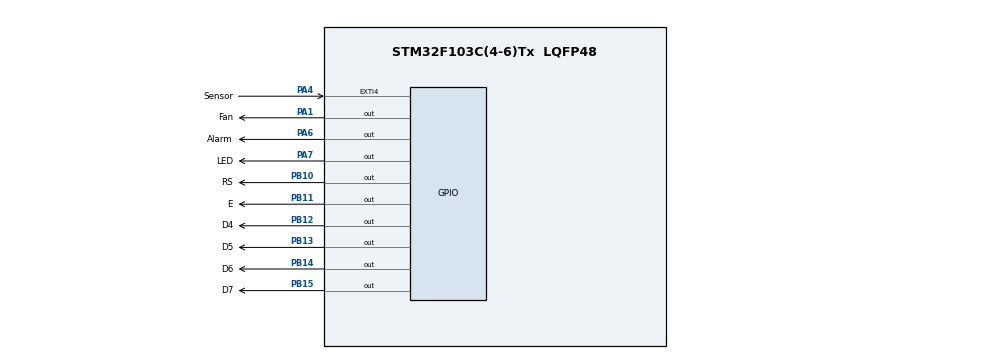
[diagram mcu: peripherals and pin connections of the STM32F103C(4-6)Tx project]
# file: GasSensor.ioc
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Mcu.Family=STM32F1
Mcu.Name=STM32F103C(4-6)Tx
Mcu.Package=LQFP48
NVIC.EXTI4_IRQn=true\:0\:0\:false\:false\:true\:true\:true\:true
NVIC.PriorityGroup=NVIC_PRIORITYGROUP_4
NVIC.TIM2_IRQn=true\:0\:0\:false\:false\:true\:true\:true\:true
PA1.GPIO_Label=Fan
PA1.Signal=GPIO_Output
PA4.GPIO_Label=Sensor
PA4.Signal=GPXTI4
PA6.GPIO_Label=Alarm
PA6.Signal=GPIO_Output
PA7.GPIO_Label=LED
PA7.Signal=GPIO_Output
PB10.GPIO_Label=RS
PB10.Signal=GPIO_Output
PB11.GPIO_Label=E
PB11.Signal=GPIO_Output
PB12.GPIO_Label=D4
PB12.Signal=GPIO_Output
PB13.GPIO_Label=D5
PB13.Signal=GPIO_Output
PB14.GPIO_Label=D6
PB14.Signal=GPIO_Output
PB15.GPIO_Label=D7
PB15.Signal=GPIO_Output
PD0-OSC_IN.Mode=HSE-External-Oscillator
PD0-OSC_IN.Signal=RCC_OSC_IN
PD1-OSC_OUT.Mode=HSE-External-Oscillator
PD1-OSC_OUT.Signal=RCC_OSC_OUT
ProjectManager.HeapSize=0x200
ProjectManager.StackSize=0x400
ProjectManager.TargetToolchain=MDK-ARM V5.32
RCC.APB1Freq_Value=8000000
RCC.APB2Freq_Value=8000000
VP_SYS_VS_ND.Mode=No_Debug
VP_TIM2_VS_ClockSourceINT.Mode=Internal
board=custom

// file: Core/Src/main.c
/* USER CODE BEGIN Header */
/**
  ******************************************************************************
  * @file           : main.c
  * @brief          : Main program body
  ******************************************************************************
  * @attention
  *
  * Copyright (c) 2023 STMicroelectronics.
  * All rights reserved.
  *
  * This software is licensed under terms that can be found in the LICENSE file
  * in the root directory of this software component.
  * If no LICENSE file comes with this software, it is provided AS-IS.
  *
  ******************************************************************************
  */
/* USER CODE END Header */
#include "main.h"

/* USER CODE BEGIN Includes */
#include "stdio.h"
#include "lcd_txt.h"
/* USER CODE END Includes */

TIM_HandleTypeDef htim2;

void SystemClock_Config(void);
static void MX_GPIO_Init(void);
static void MX_TIM2_Init(void);

int main(void)
{

  /* MCU Configuration--------------------------------------------------------*/

  /* Reset of all peripherals, Initializes the Flash interface and the Systick. */
  HAL_Init();

  /* Configure the system clock */
  SystemClock_Config();

  /* Initialize all configured peripherals */
  MX_GPIO_Init();
  MX_TIM2_Init();
  /* USER CODE BEGIN 2 */
	HAL_TIM_Base_Start_IT(&htim2);
	lcd_init();
  /* USER CODE END 2 */

  /* Infinite loop */
  /* USER CODE BEGIN WHILE */
  while (1)
  {
		if (HAL_GPIO_ReadPin(GPIOA, GPIO_PIN_4)) // if the pin is HIGH
		{
			HAL_GPIO_WritePin(GPIOA, GPIO_PIN_6, 0);
			HAL_GPIO_WritePin(GPIOA, GPIO_PIN_7, 0);
			HAL_GPIO_WritePin(GPIOA, GPIO_PIN_1, 0);
			lcd_puts(0, 0, (int8_t*)"GAS DETECTED!!!");
			lcd_puts(1, 0, (int8_t*)"FAN ACTIVATED!");
		}
		else if(!HAL_GPIO_ReadPin(GPIOA, GPIO_PIN_4)){
			HAL_GPIO_WritePin(GPIOA, GPIO_PIN_6, 1);
			HAL_GPIO_WritePin(GPIOA, GPIO_PIN_7, 1);
			HAL_GPIO_WritePin(GPIOA, GPIO_PIN_1, 1);
			lcd_puts(0, 0, (int8_t*)"NO GAS DETECTED");
			lcd_puts(1, 0, (int8_t*)"FAN NOT ACTIVE!");
		}
    /* USER CODE END WHILE */

  }
}

void SystemClock_Config(void)
{
  RCC_OscInitTypeDef RCC_OscInitStruct = {0};
  RCC_ClkInitTypeDef RCC_ClkInitStruct = {0};

  /** Initializes the RCC Oscillators according to the specified parameters
  * in the RCC_OscInitTypeDef structure.
  */
  RCC_OscInitStruct.OscillatorType = RCC_OSCILLATORTYPE_HSI;
  RCC_OscInitStruct.HSIState = RCC_HSI_ON;
  RCC_OscInitStruct.HSICalibrationValue = RCC_HSICALIBRATION_DEFAULT;
  RCC_OscInitStruct.PLL.PLLState = RCC_PLL_NONE;
  if (HAL_RCC_OscConfig(&RCC_OscInitStruct) != HAL_OK)
  {
    Error_Handler();
  }

  /** Initializes the CPU, AHB and APB buses clocks
  */
  RCC_ClkInitStruct.ClockType = RCC_CLOCKTYPE_HCLK|RCC_CLOCKTYPE_SYSCLK
                              |RCC_CLOCKTYPE_PCLK1|RCC_CLOCKTYPE_PCLK2;
  RCC_ClkInitStruct.SYSCLKSource = RCC_SYSCLKSOURCE_HSI;
  RCC_ClkInitStruct.AHBCLKDivider = RCC_SYSCLK_DIV1;
  RCC_ClkInitStruct.APB1CLKDivider = RCC_HCLK_DIV1;
  RCC_ClkInitStruct.APB2CLKDivider = RCC_HCLK_DIV1;

  if (HAL_RCC_ClockConfig(&RCC_ClkInitStruct, FLASH_LATENCY_0) != HAL_OK)
  {
    Error_Handler();
  }
}

static void MX_TIM2_Init(void)
{

  TIM_ClockConfigTypeDef sClockSourceConfig = {0};
  TIM_MasterConfigTypeDef sMasterConfig = {0};

  htim2.Instance = TIM2;
  htim2.Init.Prescaler = 0;
  htim2.Init.CounterMode = TIM_COUNTERMODE_UP;
  htim2.Init.Period = 65535;
  htim2.Init.ClockDivision = TIM_CLOCKDIVISION_DIV1;
  htim2.Init.AutoReloadPreload = TIM_AUTORELOAD_PRELOAD_DISABLE;
  if (HAL_TIM_Base_Init(&htim2) != HAL_OK)
  {
    Error_Handler();
  }
  sClockSourceConfig.ClockSource = TIM_CLOCKSOURCE_INTERNAL;
  if (HAL_TIM_ConfigClockSource(&htim2, &sClockSourceConfig) != HAL_OK)
  {
    Error_Handler();
  }
  sMasterConfig.MasterOutputTrigger = TIM_TRGO_RESET;
  sMasterConfig.MasterSlaveMode = TIM_MASTERSLAVEMODE_DISABLE;
  if (HAL_TIMEx_MasterConfigSynchronization(&htim2, &sMasterConfig) != HAL_OK)
  {
    Error_Handler();
  }

}

static void MX_GPIO_Init(void)
{
  GPIO_InitTypeDef GPIO_InitStruct = {0};

  /* GPIO Ports Clock Enable */
  __HAL_RCC_GPIOD_CLK_ENABLE();
  __HAL_RCC_GPIOA_CLK_ENABLE();
  __HAL_RCC_GPIOB_CLK_ENABLE();

  /*Configure GPIO pin Output Level */
  HAL_GPIO_WritePin(GPIOA, Fan_Pin|Alarm_Pin|LED_Pin, GPIO_PIN_RESET);

  /*Configure GPIO pin Output Level */
  HAL_GPIO_WritePin(GPIOB, RS_Pin|E_Pin|D4_Pin|D5_Pin
                          |D6_Pin|D7_Pin, GPIO_PIN_RESET);

  /*Configure GPIO pins : Fan_Pin Alarm_Pin LED_Pin */
  GPIO_InitStruct.Pin = Fan_Pin|Alarm_Pin|LED_Pin;
  GPIO_InitStruct.Mode = GPIO_MODE_OUTPUT_PP;
  GPIO_InitStruct.Pull = GPIO_NOPULL;
  GPIO_InitStruct.Speed = GPIO_SPEED_FREQ_LOW;
  HAL_GPIO_Init(GPIOA, &GPIO_InitStruct);

  /*Configure GPIO pin : Sensor_Pin */
  GPIO_InitStruct.Pin = Sensor_Pin;
  GPIO_InitStruct.Mode = GPIO_MODE_IT_RISING;
  GPIO_InitStruct.Pull = GPIO_NOPULL;
  HAL_GPIO_Init(Sensor_GPIO_Port, &GPIO_InitStruct);

  /*Configure GPIO pins : RS_Pin E_Pin D4_Pin D5_Pin
                           D6_Pin D7_Pin */
  GPIO_InitStruct.Pin = RS_Pin|E_Pin|D4_Pin|D5_Pin
                          |D6_Pin|D7_Pin;
  GPIO_InitStruct.Mode = GPIO_MODE_OUTPUT_PP;
  GPIO_InitStruct.Pull = GPIO_NOPULL;
  GPIO_InitStruct.Speed = GPIO_SPEED_FREQ_LOW;
  HAL_GPIO_Init(GPIOB, &GPIO_InitStruct);

  /* EXTI interrupt init*/
  HAL_NVIC_SetPriority(EXTI4_IRQn, 0, 0);
  HAL_NVIC_EnableIRQ(EXTI4_IRQn);

}

void Error_Handler(void)
{
  __disable_irq();
  while (1)
  {
  }
}
